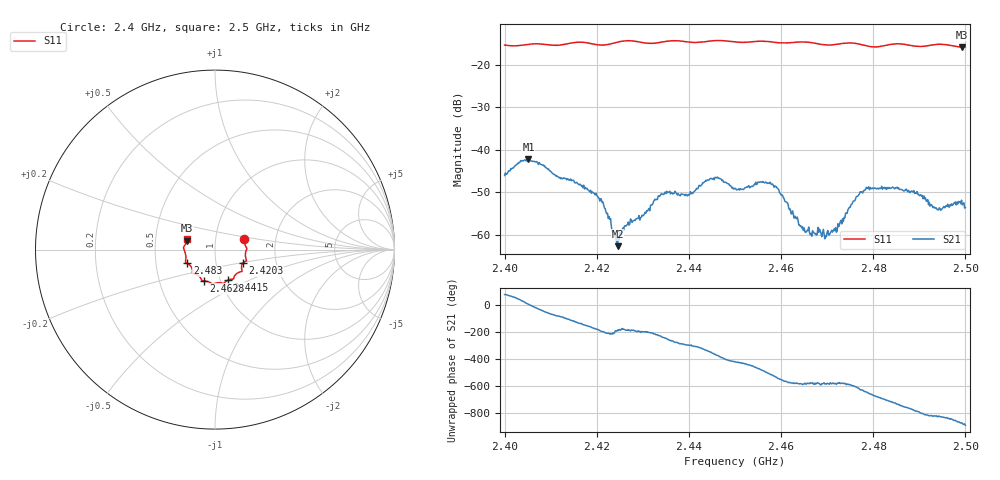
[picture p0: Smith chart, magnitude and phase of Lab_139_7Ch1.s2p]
# Hz S RI R 50
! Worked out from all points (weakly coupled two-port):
!   601 points, 2.4 GHz to 2.5 GHz, reference 50 ohm
!   highest |S21| = -42.23 dB at 2.4052 GHz (marker M1); lowest = -62.7 dB at 2.4245 GHz (marker M2)
!   lowest |S11| = -15.7 dB at 2.4993 GHz (marker M3), VSWR 1.39, Z = 36.4 + j3.68 ohm
!   |S11| at or under -10 dB: start of sweep to end of sweep
!   S12 and S22 are empty: the file has one direction only
!   S11 on the Smith chart (normalised r, x): 2.4 GHz: 1.38, +0.16; 2.4203 GHz: 1.35, -0.21; 2.4415 GHz: 1.09, -0.38; 2.4628 GHz: 0.83, -0.30; 2.483 GHz: 0.73, -0.11; 2.5 GHz: 0.73, +0.09
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2.4e9  0.1623 0.0566  0.00135 0.00481  0 0  0 0
2.405167e9  0.1749 0.0124  0.00773 0.000297  0 0  0 0
2.416667e9  0.1751 -0.0621  -0.00287 -0.00241  0 0  0 0
2.420333e9  0.1561 -0.0744  -0.00273 0.000336  0 0  0 0
2.4245e9  0.1493 -0.1115  -0.000725 0.000118  0 0  0 0
2.426333e9  0.1512 -0.1203  -0.00124 0.000246  0 0  0 0
2.429833e9  0.1345 -0.1261  -0.00159 0.000613  0 0  0 0
2.433333e9  0.108 -0.1478  -0.00192 0.00212  0 0  0 0
2.4415e9  0.0734 -0.169  0.00223 0.00256  0 0  0 0
2.446167e9  0.0484 -0.1886  0.00459 -0.0014  0 0  0 0
2.45e9  0.0297 -0.1845  0.00155 -0.00318  0 0  0 0
2.457667e9  -0.0217 -0.1868  -0.00382 -0.00166  0 0  0 0
2.462833e9  -0.0622 -0.1743  -0.00118 0.00104  0 0  0 0
2.466667e9  -0.0751 -0.1675  -0.000714 0.000647  0 0  0 0
2.471667e9  -0.1076 -0.1369  -0.000805 0.000774  0 0  0 0
2.4785e9  -0.1262 -0.1117  0.00116 0.00343  0 0  0 0
2.483e9  -0.1538 -0.0766  0.00355 0.000664  0 0  0 0
2.483333e9  -0.1561 -0.0753  0.00355 0.000402  0 0  0 0
2.489e9  -0.1618 -0.0418  0.00122 -0.00282  0 0  0 0
2.494333e9  -0.1755 0.00881  -0.000636 -0.00198  0 0  0 0
2.499333e9  -0.1556 0.0492  -0.00211 -0.000792  0 0  0 0
2.5e9  -0.1534 0.0579  -0.00209 -0.000148  0 0  0 0
